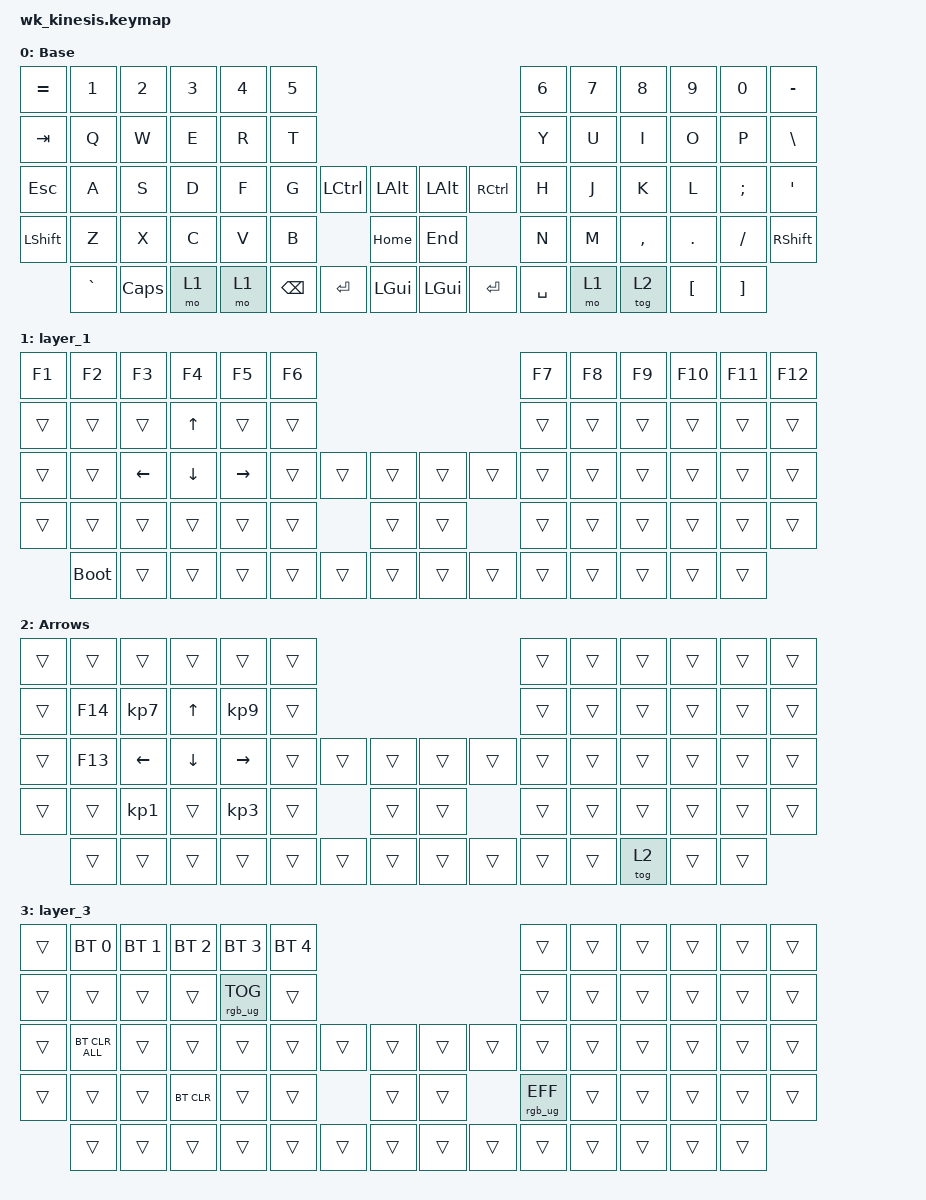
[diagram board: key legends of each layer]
#include <dt-bindings/zmk/mouse.h>
#include <behaviors.dtsi>
#include <dt-bindings/zmk/bt.h>
#include <dt-bindings/zmk/keys.h>
#include <dt-bindings/zmk/rgb.h>

/ {
    behaviors {
        hm: homerow_mods {
            compatible = "zmk,behavior-hold-tap";
            label = "HOMEROW_MODS";
            #binding-cells = <2>;
            tapping-term-ms = <200>;
            quick_tap_ms = <175>;
            flavor = "tap-preferred";
            bindings = <&kp>, <&kp>;
        };
    };

    keymap {
        compatible = "zmk,keymap";

        default_layer {
            display-name = "Base";
            bindings = <
&kp EQUAL  &kp N1     &kp N2        &kp N3  &kp N4  &kp N5                                                                                                 &kp N6  &kp N7  &kp N8     &kp N9            &kp N0             &kp MINUS
&kp TAB    &kp Q      &kp W         &kp E   &kp R   &kp T                                                                                                  &kp Y   &kp U   &kp I      &kp O             &kp P              &kp BSLH
&kp ESC    &kp A      &kp S         &kp D   &kp F   &kp G                  &kp LEFT_CONTROL  &kp LEFT_ALT      &kp LEFT_ALT  &kp RIGHT_CONTROL             &kp H   &kp J   &kp K      &kp L             &kp SEMI           &kp SQT
&kp LSHFT  &kp Z      &kp X         &kp C   &kp V   &kp B                                    &kp HOME          &kp END                                     &kp N   &kp M   &kp COMMA  &kp DOT           &kp FSLH           &kp RSHFT
           &kp GRAVE  &kp CAPSLOCK  &mo 1   &mo 1           &kp BACKSPACE  &kp RETURN        &kp LEFT_GUI      &kp LEFT_GUI  &kp ENTER          &kp SPACE          &mo 1   &tog 2     &kp LEFT_BRACKET  &kp RIGHT_BRACKET
            >;
        };

        layer_1 {
            bindings = <
&kp F1  &kp F2  &kp F3    &kp F4        &kp F5     &kp F6                                                      &kp F7  &kp F8  &kp F9  &kp F10  &kp F11  &kp F12
&trans  &trans  &trans    &kp UP_ARROW  &trans     &trans                                                      &trans  &trans  &trans  &trans   &trans   &trans
&trans  &trans  &kp LEFT  &kp DOWN      &kp RIGHT  &trans          &trans  &trans      &trans  &trans          &trans  &trans  &trans  &trans   &trans   &trans
&trans  &trans  &trans    &trans        &trans     &trans                  &trans      &trans                  &trans  &trans  &trans  &trans   &trans   &trans
        &bootloader  &trans    &trans        &trans             &trans  &trans  &trans      &trans  &trans  &trans          &trans  &trans  &trans   &trans
            >;
        };

        layer_2 {
            display-name = "Arrows";
            bindings = <
&trans  &trans  &trans    &trans        &trans     &trans                                                      &trans  &trans  &trans  &trans   &trans   &trans
&trans  &kp F14  &kp KP_N7  &kp UP_ARROW  &kp KP_N9  &trans                                                      &trans  &trans  &trans  &trans   &trans   &trans
&trans  &kp F13  &kp LEFT  &kp DOWN      &kp RIGHT  &trans          &trans  &trans      &trans  &trans          &trans  &trans  &trans  &trans   &trans   &trans
&trans  &trans  &kp KP_N1  &trans      &kp KP_N3  &trans                  &trans      &trans                  &trans  &trans  &trans  &trans   &trans   &trans
        &trans  &trans    &trans        &trans             &trans  &trans  &trans      &trans  &trans  &trans          &trans  &tog 2  &trans   &trans
            >;
        };

        layer_3 {
            bindings = <
&trans  &bt BT_SEL 0    &bt BT_SEL 1  &bt BT_SEL 2  &bt BT_SEL 3     &bt BT_SEL 4                                                      &trans           &trans  &trans  &trans  &trans  &trans
&trans  &trans          &trans        &trans        &rgb_ug RGB_TOG  &trans                                                            &trans           &trans  &trans  &trans  &trans  &trans
&trans  &bt BT_CLR_ALL  &trans        &trans        &trans           &trans                &trans  &trans      &trans  &trans          &trans           &trans  &trans  &trans  &trans  &trans
&trans  &trans          &trans        &bt BT_CLR    &trans           &trans                        &trans      &trans                  &rgb_ug RGB_EFF  &trans  &trans  &trans  &trans  &trans
        &trans          &trans        &trans        &trans                         &trans  &trans  &trans      &trans  &trans  &trans                   &trans  &trans  &trans  &trans
            >;
        };
    };
};
